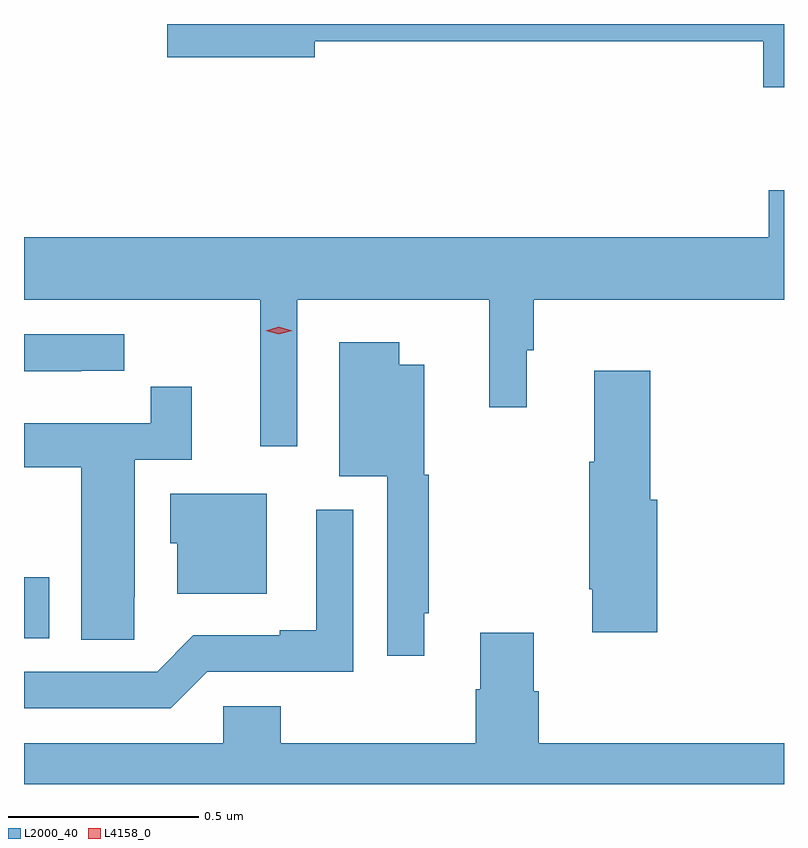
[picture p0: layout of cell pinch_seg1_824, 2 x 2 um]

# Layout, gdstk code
import gdstk
lib = gdstk.Library(unit=1e-6, precision=1e-09)
def R(c, l, rs):  # rectangles x0, y0, x1, y1
    for r in rs: c.add(gdstk.rectangle(r[:2], r[2:], *l))
def P(c, l, *ps):  # polygons
    for p in ps: c.add(gdstk.Polygon(p, *l))
L2000_40 = (2000, 40)
L4158_0 = (4158, 0)

pinch_seg1_824 = lib.new_cell('pinch_seg1_824')
R(pinch_seg1_824, L2000_40, [(418.483,554.837,418.549,554.997)])
P(pinch_seg1_824, L2000_40, [(420.483,556.453),(418.86,556.453),(418.86,556.366),(419.248,556.366),(419.248,556.408),(420.429,556.408),(420.429,556.286),(420.483,556.286)],
  [(419.202,555.728),(419.707,555.728),(419.707,555.444),(419.806,555.444),(419.806,555.594),(419.825,555.594),(419.825,555.728),(420.483,555.728),(420.483,556.016),(420.443,556.016),(420.443,555.892),(418.483,555.892),(418.483,555.728),(419.105,555.728),(419.105,555.342),(419.202,555.342)],
  [(418.634,555.54),(418.747,555.54),(418.747,555.636),(418.483,555.636),(418.483,555.539),(418.634,555.539)],
  [(419.536,554.902),(419.548,554.902),(419.548,555.267),(419.536,555.267),(419.536,555.556),(419.47,555.556),(419.47,555.616),(419.312,555.616),(419.312,555.263),(419.439,555.263),(419.439,554.79),(419.536,554.79)],
  [(420.149,555.201),(420.131,555.201),(420.131,555.541),(419.984,555.541),(419.984,555.301),(419.971,555.301),(419.971,554.965),(419.978,554.965),(419.978,554.853),(420.149,554.853)],
  [(418.773,554.944),(418.774,554.944),(418.774,555.306),(418.925,555.306),(418.925,555.499),(418.816,555.499),(418.816,555.402),(418.483,555.402),(418.483,555.286),(418.634,555.286),(418.634,554.833),(418.773,554.833)],
  [(419.122,555.217),(418.868,555.217),(418.868,555.087),(418.886,555.087),(418.886,554.954),(419.122,554.954)],
  [(418.965,554.748),(419.349,554.748),(419.349,555.175),(419.252,555.175),(419.252,554.857),(419.156,554.857),(419.156,554.844),(418.929,554.844),(418.833,554.748),(418.483,554.748),(418.483,554.652),(418.869,554.652)],
  [(420.483,554.56),(419.837,554.56),(419.837,554.697),(419.824,554.697),(419.824,554.851),(419.684,554.851),(419.684,554.702),(419.672,554.702),(419.672,554.56),(419.159,554.56),(419.159,554.658),(419.007,554.658),(419.007,554.56),(418.483,554.56),(418.483,554.453),(420.483,554.453)])
P(pinch_seg1_824, L4158_0, [(419.154,555.636),(419.119,555.646),(419.119,555.646),(419.119,555.646),(419.154,555.656),(419.189,555.646),(419.189,555.646),(419.189,555.646)])

lib.write_gds('pinch_seg1_824.gds')
